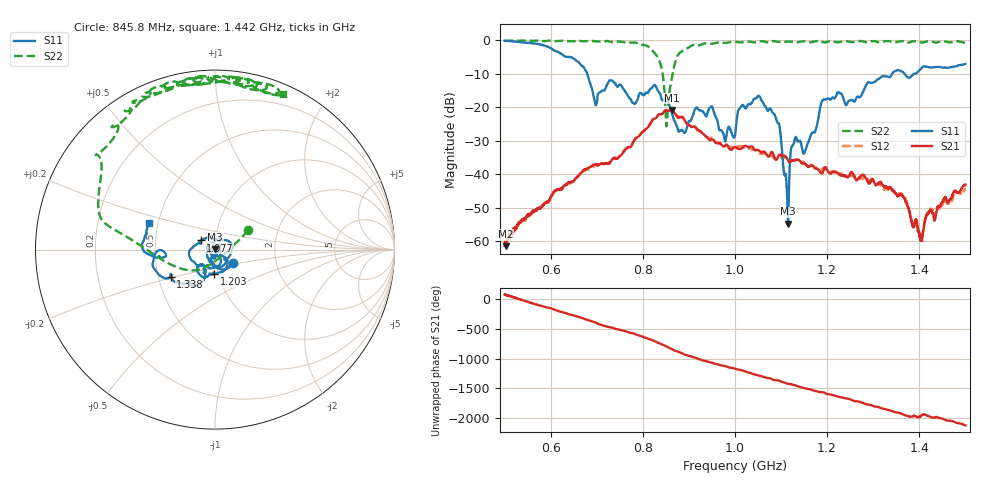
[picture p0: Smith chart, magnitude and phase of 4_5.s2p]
!Agilent Technologies,E8364B,US42250235,A.06.04.32
!Agilent E8364B: A.06.04.32
!Date: Thursday, October 01, 2020 11:16:41
!Correction: S11(Full 2 Port(1,2)) S21(Full 2 Port(1,2)) S12(Full 2 Port(1,2)) S22(Full 2 Port(1,2))
!S2P File: Measurements: S11, S21, S12, S22:
# Hz S  dB  R 50
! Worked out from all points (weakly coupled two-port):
!   2650 points, 500 MHz to 1.5 GHz, reference 50 ohm
!   highest |S21| = -20.81 dB at 863.2 MHz (marker M1); lowest = -61.5 dB at 502.6 MHz (marker M2)
!   lowest |S11| = -54.8 dB at 1.115 GHz (marker M3), VSWR 1.00, Z = 50.1 + j0.173 ohm
!   |S11| at or under -10 dB: 679.2 MHz to 1.341 GHz (662 MHz wide, 65.5 % of centre); 1.368 GHz to 1.392 GHz (24.38 MHz wide, 1.77 % of centre)
!   |S22| runs from -25.7 to -0.1 dB; largest |S21 - S12| = 0.0068
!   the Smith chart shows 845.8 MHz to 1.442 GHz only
!   S11 on the Smith chart (normalised r, x): 845.8 MHz: 1.21, -0.18; 1.077 GHz: 0.85, +0.09; 1.203 GHz: 0.96, -0.26; 1.338 GHz: 0.58, -0.19; 1.442 GHz: 0.44, +0.15
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5e8  -0.18 -175.4  -61.38 81.7  -60.33 81.2  -0.21 136.5
5.026425e8  -0.21 -176.9  -61.48 75.8  -60.92 75.8  -0.22 135.9
5.917327e8  -1.90 124.6  -48.39 -134.8  -48.17 -141.0  -0.20 127.3
6.668554e8  -7.58 65.3  -39.54 48.8  -39.83 41.9  -0.29 121.4
6.96678e8  -18.99 58.6  -37.06 -30.0  -37.35 -34.2  -0.34 118.1
8.337108e8  -15.37 -17.8  -22.25 -12.5  -22.29 -10.1  -5.58 49.4
8.457909e8  -18.02 -35.1  -21.37 -52.9  -21.33 -49.6  -13.37 30.0
8.529634e8  -18.20 -61.8  -21.06 -82.8  -20.96 -79.2  -22.71 -98.0
8.631559e8  -21.75 -106.1  -20.81 -120.5  -20.80 -117.7  -11.04 -165.5
8.861835e8  -26.90 127.3  -22.92 165.1  -23.14 168.1  -3.22 160.3
9.477161e8  -19.83 -68.5  -29.76 15.1  -29.18 19.7  -1.10 127.3
1.000189e9  -28.42 -69.7  -31.94 -91.4  -31.90 -89.6  -0.50 118.9
1.076821e9  -20.41 147.5  -33.83 105.1  -34.40 100.4  -0.52 103.0
1.115327e9  -54.77 70.8  -35.94 12.4  -35.46 19.6  -0.40 101.1
1.127407e9  -30.92 -88.2  -35.80 -5.7  -35.82 -2.8  -0.59 102.3
1.166667e9  -27.73 -40.7  -37.34 -90.5  -37.31 -90.5  -0.58 95.0
1.202529e9  -17.40 -92.0  -39.32 -163.2  -39.14 -163.9  -0.44 90.9
1.333522e9  -11.00 -151.0  -44.08 -69.9  -44.66 -68.6  -0.30 83.2
1.338052e9  -10.73 -148.3  -44.05 -82.8  -44.50 -81.6  -0.43 84.4
1.402982e9  -8.62 -175.9  -59.26 -175.9  -58.56 -170.0  -0.70 74.9
1.442242e9  -8.00 158.4  -49.52 154.6  -50.11 148.8  -0.51 66.5
1.5e9  -7.09 141.4  -43.10 28.8  -44.39 36.3  -0.69 60.8
